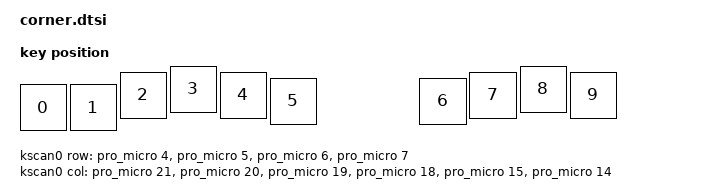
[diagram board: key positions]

#include <physical_layouts.dtsi>
#include <dt-bindings/zmk/matrix_transform.h>

/ {
    chosen {
        zmk,kscan = &kscan0;
        zmk,physical-layout = &corner_6col_layout;
    };

    kscan0: kscan {
        compatible = "zmk,kscan-gpio-matrix";
        wakeup-source;

        diode-direction = "col2row";
        row-gpios
            = <&pro_micro 4 (GPIO_ACTIVE_HIGH | GPIO_PULL_DOWN)>
            , <&pro_micro 5 (GPIO_ACTIVE_HIGH | GPIO_PULL_DOWN)>
            , <&pro_micro 6 (GPIO_ACTIVE_HIGH | GPIO_PULL_DOWN)>
            , <&pro_micro 7 (GPIO_ACTIVE_HIGH | GPIO_PULL_DOWN)>
            ;

        col-gpios
            = <&pro_micro 21 GPIO_ACTIVE_HIGH>
            , <&pro_micro 20 GPIO_ACTIVE_HIGH>
            , <&pro_micro 19 GPIO_ACTIVE_HIGH>
            , <&pro_micro 18 GPIO_ACTIVE_HIGH>
            , <&pro_micro 15 GPIO_ACTIVE_HIGH>
            , <&pro_micro 14 GPIO_ACTIVE_HIGH>
            ;
    };

    corner_6col_layout: corner_6col_layout {
        compatible = "zmk,physical-layout";
        display-name = "10 keys";
        transform = <&default_transform>;

        keys  //                     w   h    x    y     rot    rx    ry
            = <&key_physical_attrs 100 100    0   37       0     0     0>
            , <&key_physical_attrs 100 100  100   37       0     0     0>
            , <&key_physical_attrs 100 100  200   12       0     0     0>
            , <&key_physical_attrs 100 100  300    0       0     0     0>
            , <&key_physical_attrs 100 100  400   12       0     0     0>
            , <&key_physical_attrs 100 100  500   24       0     0     0>
            , <&key_physical_attrs 100 100  800   24       0     0     0>
            , <&key_physical_attrs 100 100  900   12       0     0     0>
            , <&key_physical_attrs 100 100 1000    0       0     0     0>
            , <&key_physical_attrs 100 100 1100   12       0     0     0>
        ;
    };

    default_transform: keymap_transform_0 {
        compatible = "zmk,matrix-transform";
        columns = <10>;
        rows = <1>;
        map = <0 1 2 3 4 5 6 7 8 9>;
    };



};

